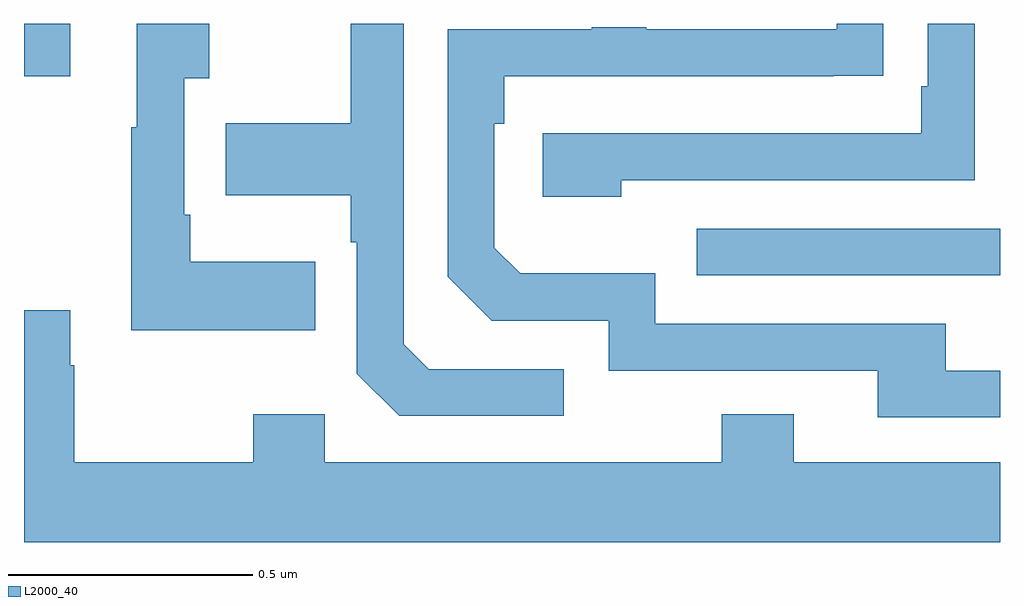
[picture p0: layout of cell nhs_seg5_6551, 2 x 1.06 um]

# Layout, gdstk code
import gdstk
lib = gdstk.Library(unit=1e-6, precision=1e-09)
def R(c, l, rs):  # rectangles x0, y0, x1, y1
    for r in rs: c.add(gdstk.rectangle(r[:2], r[2:], *l))
def P(c, l, *ps):  # polygons
    for p in ps: c.add(gdstk.Polygon(p, *l))
L2000_40 = (2000, 40)

nhs_seg5_6551 = lib.new_cell('nhs_seg5_6551')
R(nhs_seg5_6551, L2000_40, [(198.379,881.283,199,881.379), (197,881.691,197.095,881.799)])
P(nhs_seg5_6551, L2000_40, [(198.106,881.091),(197.829,881.091),(197.778,881.142),(197.778,881.799),(197.67,881.799),(197.67,881.595),(197.413,881.595),(197.413,881.447),(197.67,881.447),(197.67,881.351),(197.682,881.351),(197.682,881.082),(197.769,880.995),(198.106,880.995)],
  [(198.224,881.478),(198.948,881.478),(198.948,881.799),(198.852,881.799),(198.852,881.671),(198.839,881.671),(198.839,881.574),(198.063,881.574),(198.063,881.444),(198.224,881.444)],
  [(197.597,881.311),(197.341,881.311),(197.341,881.407),(197.328,881.407),(197.328,881.687),(197.38,881.687),(197.38,881.799),(197.231,881.799),(197.231,881.587),(197.22,881.587),(197.22,881.171),(197.597,881.171)],
  [(199,881.088),(198.889,881.088),(198.889,881.184),(198.294,881.184),(198.294,881.287),(198.017,881.287),(197.964,881.34),(197.964,881.594),(197.984,881.594),(197.984,881.691),(198.659,881.691),(198.659,881.692),(198.761,881.692),(198.761,881.799),(198.665,881.799),(198.665,881.787),(198.275,881.787),(198.275,881.792),(198.163,881.792),(198.163,881.787),(197.868,881.787),(197.868,881.28),(197.958,881.19),(198.198,881.19),(198.198,881.088),(198.749,881.088),(198.749,880.992),(199,880.992)],
  [(199,880.9),(198.577,880.9),(198.577,880.999),(198.43,880.999),(198.43,880.9),(197.616,880.9),(197.616,880.999),(197.47,880.999),(197.47,880.9),(197.103,880.9),(197.103,881.099),(197.095,881.099),(197.095,881.212),(197,881.212),(197,880.736),(199,880.736)])

lib.write_gds('nhs_seg5_6551.gds')
